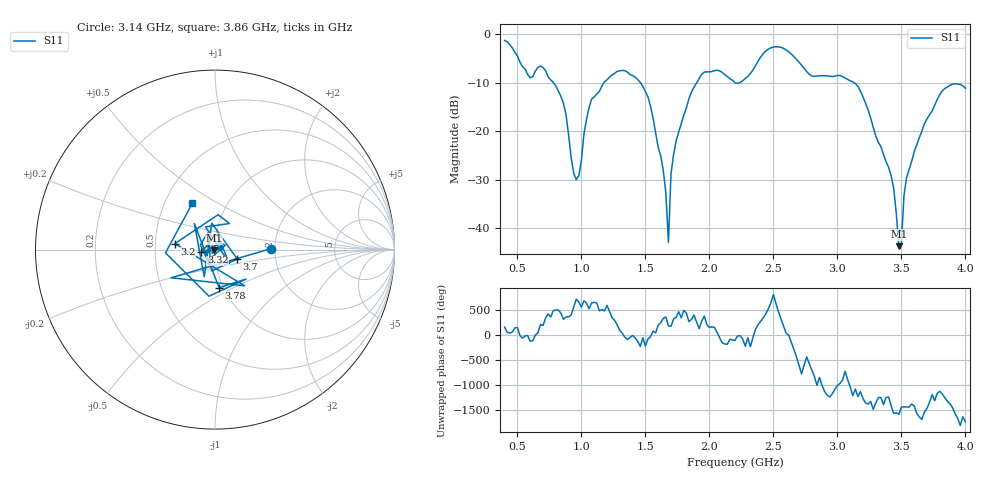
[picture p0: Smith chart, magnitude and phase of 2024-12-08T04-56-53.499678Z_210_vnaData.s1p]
!Created with skrf (http://scikit-rf.org).
# Hz S RI R 50.0
!freq ReS11 ImS11
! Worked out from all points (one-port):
!   181 points, 400 MHz to 4 GHz, reference 50 ohm
!   lowest |S11| = -43.7 dB at 3.48 GHz (marker M1), VSWR 1.01, Z = 49.5 - j0.383 ohm
!   |S11| at or under -10 dB: 782.9 MHz to 1.176 GHz (392.7 MHz wide, 40.1 % of centre); 1.462 GHz to 1.901 GHz (438.8 MHz wide, 26.1 % of centre); 3.132 GHz to end of sweep (the widest 3 of 4)
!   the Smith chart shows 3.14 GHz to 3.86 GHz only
!   S11 on the Smith chart (normalised r, x): 3.14 GHz: 1.90, +0.02; 3.2 GHz: 0.63, +0.04; 3.32 GHz: 0.86, -0.03; 3.7 GHz: 1.27, -0.14; 3.78 GHz: 0.95, -0.42; 3.86 GHz: 0.69, +0.39
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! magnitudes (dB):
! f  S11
! 400 MHz  -1.3
! 700 MHz  -6.8
! 860 MHz  -14.3
! 960 MHz  -29.9
! 1.08 GHz  -13.4
! 1.3 GHz  -7.5
! 1.52 GHz  -12.9
! 1.64 GHz  -28.1
! 1.68 GHz  -42.9
! 1.7 GHz  -28.8
! 1.76 GHz  -20.1
! 1.94 GHz  -8.2
! 2.2 GHz  -10.0
! 2.48 GHz  -2.8
! 2.66 GHz  -4.6
! 3.1 GHz  -9.6
! 3.14 GHz  -10.1
! 3.2 GHz  -12.9
! 3.32 GHz  -22.3
! 3.44 GHz  -31.8
! 3.48 GHz  -43.7
! 3.5 GHz  -43.1
! 3.52 GHz  -33.3
! 3.56 GHz  -27.9
! 3.7 GHz  -17.4
! 3.78 GHz  -13.4
! 3.86 GHz  -10.8
! 4 GHz  -11.1
